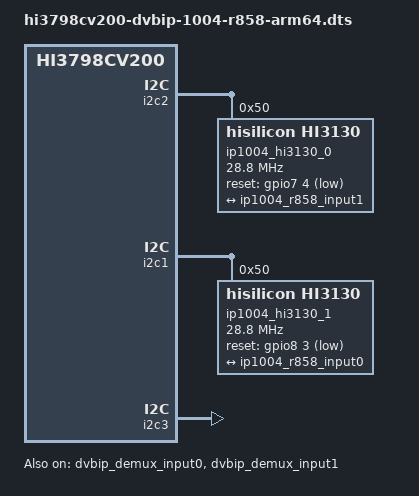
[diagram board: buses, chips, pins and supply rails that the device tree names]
// SPDX-License-Identifier: GPL-2.0-only
/* DVBIP-1004 with two external Hi3130v200 demodulators and an R858 pair. */

/dts-v1/;

#include "hi3798cv200-dvbip-1004.dtsi"

/ {
	compatible = "dvbip,1004-r858", "dvbip,1004", "hisilicon,hi3798cv200";
};

/* Factory SCI uses CMOS clock/reset and an open-drain VCC enable. */
&sci0 {
	hisilicon,vcc-enable-open-drain;
};

/* Factory tuner 1 feeds TSI0; factory tuner 0 feeds TSI1. */
&dvbip_demux_input0 {
	status = "okay";
	/delete-property/ hisilicon,clock-inverted;
	hisilicon,ts-mode = "serial-nosync";
	hisilicon,cv200-legacy-ts-tuning;
	hisilicon,hardware-pid-filtering;

	port {
		ip1004_r858_input0: endpoint {
			remote-endpoint = <&ip1004_hi3130_output1>;
		};
	};
};

&dvbip_demux_input1 {
	status = "okay";
	/delete-property/ hisilicon,clock-inverted;
	hisilicon,ts-mode = "serial-nosync";
	hisilicon,cv200-legacy-ts-tuning;
	hisilicon,hardware-pid-filtering;

	port {
		ip1004_r858_input1: endpoint {
			remote-endpoint = <&ip1004_hi3130_output0>;
		};
	};
};

&dvbip_demux_input2 {
	status = "disabled";
};

&dvbip_demux_input3 {
	status = "disabled";
};

&demux {
	pinctrl-names = "default";
	pinctrl-0 = <&ip1004_r858_tsi_pins &ip1004_r858_tsi1_clk_pin>;
	assigned-clock-parents = <&crg HISTB_TSI_INDEPENDENT_CLK>;
};

&pmx0 {
	ip1004_r858_i2c1_pins: ip1004-r858-i2c1-pins {
		pinctrl-single,pins = <
			0x0f8 MUX_M3 /* I2C1_SCL alternate route */
			0x0fc MUX_M3 /* I2C1_SDA alternate route */
		>;
		pinctrl-single,slew-rate = <PINCTRL_SLEW_RATE(1, 1)>;
		pinctrl-single,drive-strength = <PINCTRL_DRV_STRENGTH(3, 0xf)>;
	};

	ip1004_r858_i2c2_pins: ip1004-r858-i2c2-pins {
		pinctrl-single,pins = <
			0x0dc MUX_M4 /* I2C2_SCL */
			0x0e0 MUX_M4 /* I2C2_SDA */
		>;
		pinctrl-single,slew-rate = <PINCTRL_SLEW_RATE(1, 1)>;
		pinctrl-single,drive-strength = <PINCTRL_DRV_STRENGTH(3, 0xf)>;
	};

	ip1004_r858_i2c3_clk_pin: ip1004-r858-i2c3-clk-pin {
		pinctrl-single,pins = <0x0b0 MUX_M5>;
		pinctrl-single,slew-rate = <PINCTRL_SLEW_RATE(1, 1)>;
		pinctrl-single,drive-strength = <PINCTRL_DRV_STRENGTH(7, 0xf)>;
	};

	ip1004_r858_i2c3_data_pin: ip1004-r858-i2c3-data-pin {
		pinctrl-single,pins = <0x0b4 MUX_M5>;
		pinctrl-single,slew-rate = <PINCTRL_SLEW_RATE(1, 1)>;
		pinctrl-single,drive-strength = <PINCTRL_DRV_STRENGTH(0xf, 0xf)>;
	};

	ip1004_hi3130_reset0_pin: ip1004-hi3130-reset0-pin {
		pinctrl-single,pins = <0x0c8 MUX_M0>; /* GPIO7_4 */
		pinctrl-single,slew-rate = <PINCTRL_SLEW_RATE(1, 1)>;
		pinctrl-single,drive-strength = <PINCTRL_DRV_STRENGTH(3, 0xf)>;
	};

	ip1004_hi3130_reset1_pin: ip1004-hi3130-reset1-pin {
		pinctrl-single,pins = <0x0e4 MUX_M0>; /* GPIO8_3 */
		pinctrl-single,slew-rate = <PINCTRL_SLEW_RATE(1, 1)>;
		pinctrl-single,drive-strength = <PINCTRL_DRV_STRENGTH(3, 0xf)>;
	};

	ip1004_r858_tsi_pins: ip1004-r858-tsi-pins {
		pinctrl-single,pins = <
			0x0cc MUX_M5 /* TSI1_SYNC */
			0x0d0 MUX_M5 /* TSI1_D0 */
			0x0e8 MUX_M5 /* TSI0_SYNC */
			0x0ec MUX_M5 /* TSI0_D0 */
			0x0f0 MUX_M5 /* TSI0_CLK */
		>;
		pinctrl-single,slew-rate = <PINCTRL_SLEW_RATE(1, 1)>;
		pinctrl-single,drive-strength = <PINCTRL_DRV_STRENGTH(3, 0xf)>;
	};

	ip1004_r858_tsi1_clk_pin: ip1004-r858-tsi1-clk-pin {
		pinctrl-single,pins = <0x0d4 MUX_M5>;
		pinctrl-single,slew-rate = <PINCTRL_SLEW_RATE(1, 1)>;
		pinctrl-single,drive-strength = <PINCTRL_DRV_STRENGTH(7, 0xf)>;
	};
};

&i2c2 {
	pinctrl-names = "default";
	pinctrl-0 = <&ip1004_r858_i2c2_pins>;
	status = "okay";

	ip1004_hi3130_0: demodulator@50 {
		compatible = "hisilicon,hi3130";
		reg = <0x50>;
		pinctrl-names = "default";
		pinctrl-0 = <&ip1004_hi3130_reset0_pin>;
		reset-gpios = <&gpio7 4 GPIO_ACTIVE_LOW>;
		clock-frequency = <28800000>;
		hisilicon,ts-mode = "serial-nosync";
		#address-cells = <1>;
		#size-cells = <0>;

		ip1004_r858_0: tuner@a {
			reg = <0x0a>;
			i2c-parent = <&i2c3>;
			clock-frequency = <24000000>;
			rafael,tuner-index = <0>;
			rafael,peer = <&ip1004_r858_1>;
			rafael,if-frequency-hz = <5000000>;
			rafael,xtal-role = <1>;
			rafael,xtal-cap = <25>;
			rafael,loop-through;
			rafael,clock-out;
		};

		port {
			ip1004_hi3130_output0: endpoint {
				remote-endpoint = <&ip1004_r858_input1>;
			};
		};
	};
};

&i2c1 {
	pinctrl-names = "default";
	pinctrl-0 = <&ip1004_r858_i2c1_pins>;
	status = "okay";

	ip1004_hi3130_1: demodulator@50 {
		compatible = "hisilicon,hi3130";
		reg = <0x50>;
		pinctrl-names = "default";
		pinctrl-0 = <&ip1004_hi3130_reset1_pin>;
		reset-gpios = <&gpio8 3 GPIO_ACTIVE_LOW>;
		clock-frequency = <28800000>;
		hisilicon,ts-mode = "serial-nosync";
		#address-cells = <1>;
		#size-cells = <0>;

		ip1004_r858_1: tuner@1a {
			reg = <0x1a>;
			i2c-parent = <&i2c3>;
			clock-frequency = <24000000>;
			rafael,tuner-index = <1>;
			rafael,peer = <&ip1004_r858_0>;
			rafael,if-frequency-hz = <5500000>;
			rafael,xtal-role = <1>;
			rafael,xtal-cap = <25>;
			rafael,loop-through;
			rafael,clock-out;
		};

		port {
			ip1004_hi3130_output1: endpoint {
				remote-endpoint = <&ip1004_r858_input0>;
			};
		};
	};
};

/* Factory hardware detection reads the R858 directly on I2C3. */
&i2c3 {
	pinctrl-names = "default";
	pinctrl-0 = <&ip1004_r858_i2c3_clk_pin &ip1004_r858_i2c3_data_pin>;
	status = "okay";
};
